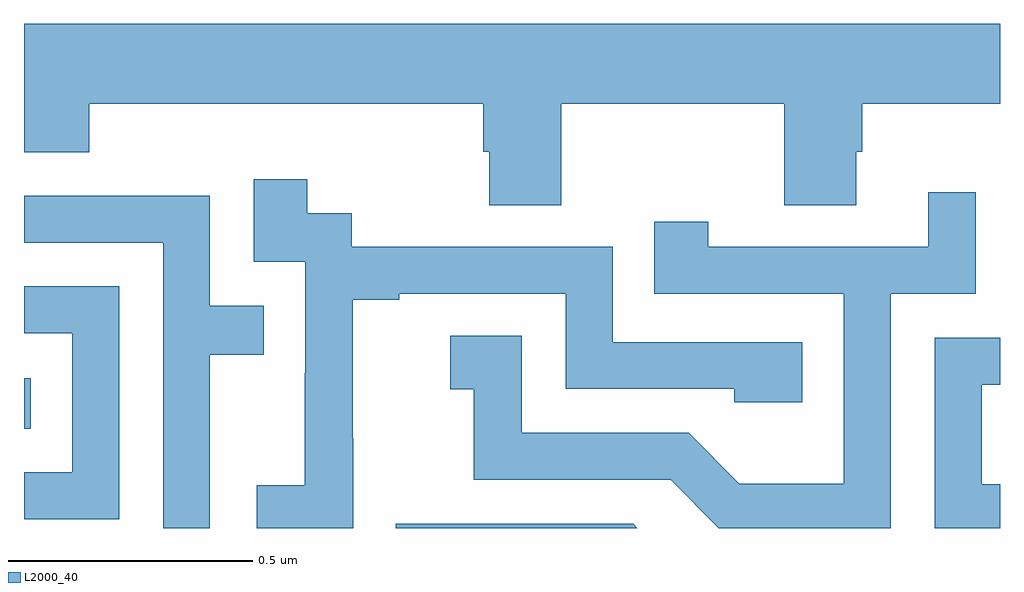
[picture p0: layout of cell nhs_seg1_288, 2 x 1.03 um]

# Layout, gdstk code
import gdstk
lib = gdstk.Library(unit=1e-6, precision=1e-09)
def R(c, l, rs):  # rectangles x0, y0, x1, y1
    for r in rs: c.add(gdstk.rectangle(r[:2], r[2:], *l))
def P(c, l, *ps):  # polygons
    for p in ps: c.add(gdstk.Polygon(p, *l))
L2000_40 = (2000, 40)

nhs_seg1_288 = lib.new_cell('nhs_seg1_288')
R(nhs_seg1_288, L2000_40, [(114,548.402,114.014,548.506)])
P(nhs_seg1_288, L2000_40, [(115.101,549.068),(115.558,549.068),(115.558,548.86),(115.705,548.86),(115.705,548.97),(115.718,548.97),(115.718,549.068),(116,549.068),(116,549.232),(114,549.232),(114,548.969),(114.134,548.969),(114.134,549.068),(114.941,549.068),(114.941,548.97),(114.953,548.97),(114.953,548.86),(115.101,548.86)],
  [(114.675,548.383),(114.674,548.383),(114.674,548.667),(114.769,548.667),(114.769,548.679),(115.11,548.679),(115.11,548.484),(115.455,548.484),(115.455,548.457),(115.595,548.457),(115.595,548.58),(115.206,548.58),(115.206,548.775),(114.672,548.775),(114.672,548.844),(114.58,548.844),(114.58,548.914),(114.471,548.914),(114.471,548.745),(114.576,548.745),(114.576,548.516),(114.575,548.516),(114.575,548.287),(114.477,548.287),(114.477,548.199),(114.675,548.199)],
  [(115.776,548.679),(115.95,548.679),(115.95,548.887),(115.853,548.887),(115.853,548.775),(115.402,548.775),(115.402,548.827),(115.291,548.827),(115.291,548.679),(115.68,548.679),(115.68,548.29),(115.466,548.29),(115.362,548.394),(115.02,548.394),(115.02,548.593),(114.873,548.593),(114.873,548.483),(114.922,548.483),(114.922,548.298),(115.325,548.298),(115.424,548.199),(115.776,548.199)],
  [(114.381,548.554),(114.491,548.554),(114.491,548.655),(114.381,548.655),(114.381,548.88),(114,548.88),(114,548.784),(114.285,548.784),(114.285,548.199),(114.381,548.199)],
  [(114.195,548.694),(114,548.694),(114,548.598),(114.099,548.598),(114.099,548.313),(114,548.313),(114,548.217),(114.195,548.217)],
  [(116,548.289),(115.963,548.289),(115.963,548.493),(116,548.493),(116,548.589),(115.866,548.589),(115.866,548.199),(116,548.199)],
  [(115.248,548.208),(114.762,548.208),(114.762,548.199),(115.257,548.199)])

lib.write_gds('nhs_seg1_288.gds')
